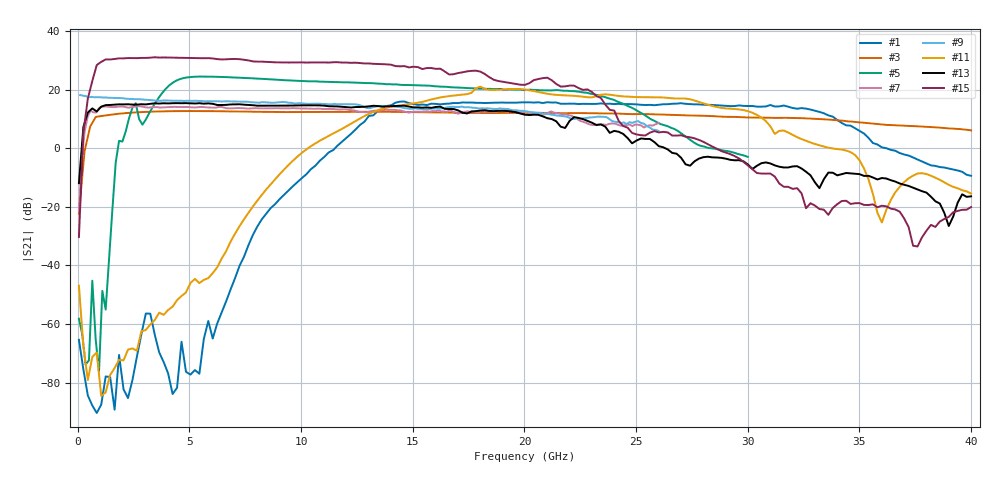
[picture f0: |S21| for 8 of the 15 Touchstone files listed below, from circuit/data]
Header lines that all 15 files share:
!Hittite Microwave Corporation
!Chelmsford, MA 01824
!Tel: 978-250-3343
!Fax: 978-250-3373
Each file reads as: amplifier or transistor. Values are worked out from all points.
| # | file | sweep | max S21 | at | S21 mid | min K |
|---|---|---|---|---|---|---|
| 1 | HMC519_deembedded.s2p | 50 MHz to 40 GHz | 15.9 dB | 14.63 GHz | 15.6 dB at 20.02 GHz | -245.36 |
| 2 | HMC559_deembedded.s2p | 50 MHz to 30 GHz | 17.2 dB | 20.75 GHz | 14.0 dB at 15.13 GHz | 0.77 |
| 3 | HMC562_deembedded.s2p | 50 MHz to 40 GHz | 12.6 dB | 5.075 GHz | 12.0 dB at 20.15 GHz | 1.16 |
| 4 | Hmc564_sparam.s2p | 50 MHz to 20 GHz | 18.0 dB | 9.028 GHz | 18.0 dB at 10.02 GHz | -0.36 |
| 5 | Hmc565_sparam.s2p | 50 MHz to 30 GHz | 24.4 dB | 5.74 GHz | 21.5 dB at 15.03 GHz | 3.49 |
| 6 | HMC-C001_sparamaters.s2p | 50 MHz to 40 GHz | 15.3 dB | 3.645 GHz | 13.0 dB at 20.02 GHz | 1.00 |
| 7 | HMC-C002_sparamaters.s2p | 50 MHz to 26 GHz | 14.3 dB | 2.645 GHz | 12.3 dB at 13.03 GHz | 2.68 |
| 8 | HMC-C003_sparamaters.s2p | 50 MHz to 26 GHz | 15.5 dB | 4.721 GHz | 13.7 dB at 13.03 GHz | 2.90 |
| 9 | HMC-C004_High_Frequency_sparamaters.s2p | 100 MHz to 26 GHz | 18.1 dB | 100 MHz | 13.6 dB at 13.05 GHz | 4.75 |
| 10 | HMC-C016_deembedded.s2p | 50 MHz to 20 GHz | 23.1 dB | 17.11 GHz | 21.9 dB at 10.02 GHz | -10838.07 |
| 11 | HMC-C017_deembedded.s2p | 50 MHz to 40 GHz | 21.0 dB | 18.03 GHz | 20.0 dB at 20.02 GHz | -4123.44 |
| 12 | HMC-C022_sparameters.s2p | 50 MHz to 40 GHz | 15.4 dB | 1.248 GHz | 12.9 dB at 20.02 GHz | 1.63 |
| 13 | HMC-C023_sparameters.s2p | 50 MHz to 40 GHz | 15.3 dB | 4.844 GHz | 11.4 dB at 20.02 GHz | 2.97 |
| 14 | HMC-C024_sparameters.s2p | 100 MHz to 40 GHz | 18.5 dB | 100 MHz | 12.8 dB at 20.05 GHz | 1.51 |
| 15 | HMC-C026_sparameters.s2p | 50 MHz to 40 GHz | 31.0 dB | 3.446 GHz | 21.6 dB at 20.02 GHz | 1.32 |
